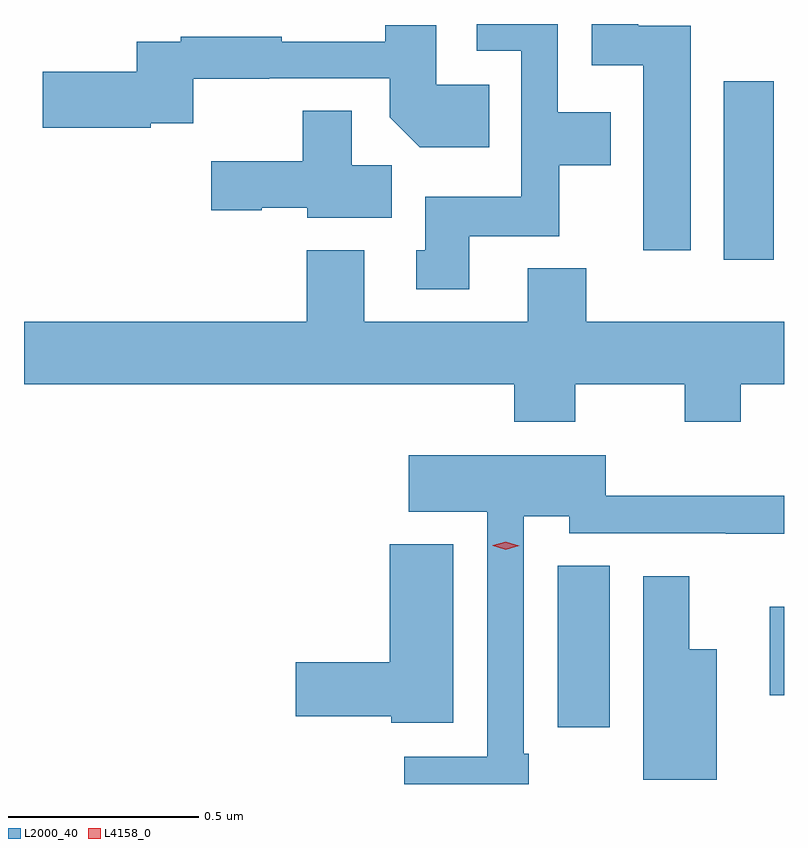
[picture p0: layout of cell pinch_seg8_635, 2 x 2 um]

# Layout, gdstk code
import gdstk
lib = gdstk.Library(unit=1e-6, precision=1e-09)
def R(c, l, rs):  # rectangles x0, y0, x1, y1
    for r in rs: c.add(gdstk.rectangle(r[:2], r[2:], *l))
def P(c, l, *ps):  # polygons
    for p in ps: c.add(gdstk.Polygon(p, *l))
L2000_40 = (2000, 40)
L4158_0 = (4158, 0)

pinch_seg8_635 = lib.new_cell('pinch_seg8_635')
R(pinch_seg8_635, L2000_40, [(210.203,1087.626,210.34,1088.051), (210.761,1087.709,210.799,1087.942), (210.641,1088.856,210.772,1089.325)])
P(pinch_seg8_635, L2000_40, [(210.553,1089.471),(210.415,1089.471),(210.415,1089.476),(210.293,1089.476),(210.293,1089.368),(210.428,1089.368),(210.428,1088.88),(210.553,1088.88)],
  [(209.971,1088.918),(210.207,1088.918),(210.207,1089.104),(210.343,1089.104),(210.343,1089.244),(210.204,1089.244),(210.204,1089.476),(209.991,1089.476),(209.991,1089.405),(210.108,1089.405),(210.108,1089.022),(209.855,1089.022),(209.855,1088.88),(209.831,1088.88),(209.831,1088.778),(209.971,1088.778)],
  [(210.023,1089.316),(209.884,1089.316),(209.884,1089.473),(209.75,1089.473),(209.75,1089.429),(209.477,1089.429),(209.477,1089.442),(209.212,1089.442),(209.212,1089.429),(209.096,1089.429),(209.096,1089.35),(208.848,1089.35),(208.848,1089.203),(209.132,1089.203),(209.132,1089.215),(209.244,1089.215),(209.244,1089.332),(209.444,1089.332),(209.444,1089.333),(209.762,1089.333),(209.762,1089.23),(209.84,1089.152),(210.023,1089.152)],
  [(209.767,1089.104),(209.662,1089.104),(209.662,1089.248),(209.533,1089.248),(209.533,1089.115),(209.292,1089.115),(209.292,1088.986),(209.424,1088.986),(209.424,1088.993),(209.544,1088.993),(209.544,1088.966),(209.767,1088.966)],
  [(210.249,1088.528),(210.538,1088.528),(210.538,1088.429),(210.685,1088.429),(210.685,1088.528),(210.799,1088.528),(210.799,1088.692),(210.278,1088.692),(210.278,1088.833),(210.125,1088.833),(210.125,1088.692),(209.695,1088.692),(209.695,1088.881),(209.543,1088.881),(209.543,1088.692),(208.799,1088.692),(208.799,1088.528),(210.089,1088.528),(210.089,1088.429),(210.249,1088.429)],
  [(210.127,1087.555),(210.114,1087.555),(210.114,1088.18),(210.234,1088.18),(210.234,1088.136),(210.646,1088.136),(210.646,1088.135),(210.799,1088.135),(210.799,1088.234),(210.33,1088.234),(210.33,1088.341),(209.811,1088.341),(209.811,1088.192),(210.018,1088.192),(210.018,1087.548),(209.799,1087.548),(209.799,1087.476),(210.127,1087.476)],
  [(209.929,1088.107),(209.762,1088.107),(209.762,1087.796),(209.514,1087.796),(209.514,1087.654),(209.766,1087.654),(209.766,1087.637),(209.929,1087.637)],
  [(210.622,1087.831),(210.55,1087.831),(210.55,1088.023),(210.428,1088.023),(210.428,1087.487),(210.622,1087.487)])
P(pinch_seg8_635, L4158_0, [(210.067,1088.093),(210.032,1088.103),(210.032,1088.103),(210.032,1088.104),(210.067,1088.113),(210.102,1088.103),(210.102,1088.103),(210.102,1088.103)])

lib.write_gds('pinch_seg8_635.gds')
